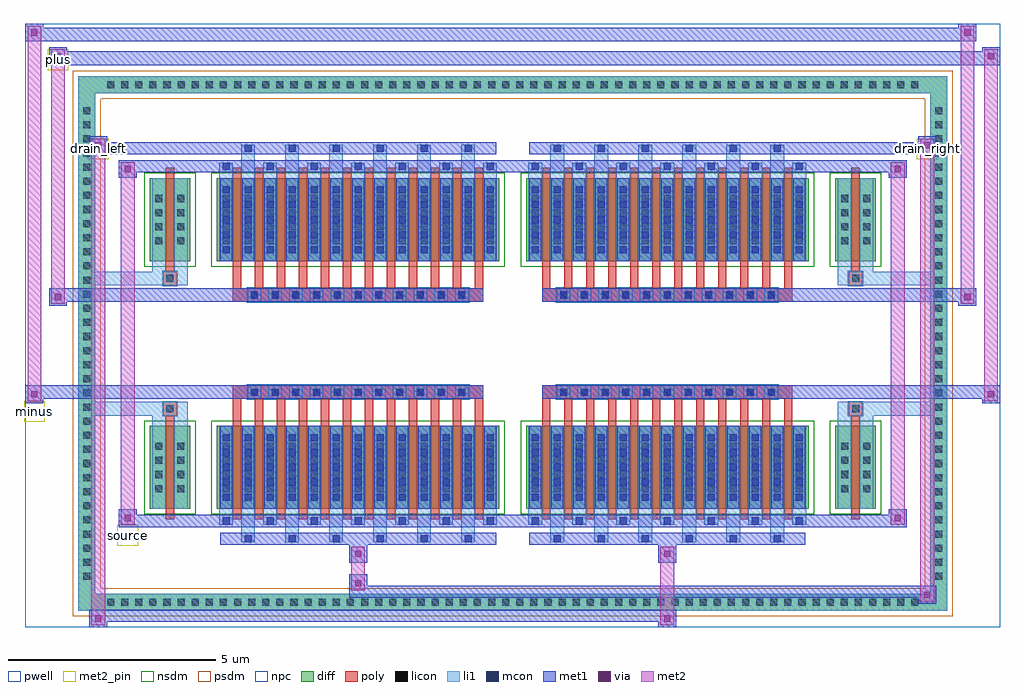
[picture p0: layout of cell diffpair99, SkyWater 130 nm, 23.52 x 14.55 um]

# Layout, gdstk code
import gdstk
lib = gdstk.Library(unit=1e-6, precision=5e-09)
def R(c, l, rs):  # rectangles x0, y0, x1, y1
    for r in rs: c.add(gdstk.rectangle(r[:2], r[2:], *l))
def A(c, l, x, y, w, h, nx, ny, dx, dy):  # array of equal rectangles
    R(c, l, [(x+i*dx, y+j*dy, x+i*dx+w, y+j*dy+h) for i in range(nx) for j in range(ny)])
def P(c, l, *ps):  # polygons
    for p in ps: c.add(gdstk.Polygon(p, *l))
pwell = (64, 44)
diff = (65, 20)
poly = (66, 20)
licon = (66, 44)
li1 = (67, 20)
mcon = (67, 44)
met1 = (68, 20)
via = (68, 44)
met2_pin = (69, 16)
met2 = (69, 20)
nsdm = (93, 44)
psdm = (94, 20)
npc = (95, 20)

diffpair99 = lib.new_cell('diffpair99')
R(diffpair99, pwell, [(-11.74,-6.84,11.74,7.71), (-9.06,-5.03,-0.01,-0.805), (0.01,-5.03,9.06,-0.805), (-9.06,0.805,-0.01,5.03), (0.01,0.805,9.06,5.03)])
A(diffpair99, diff, -9.895, -6.44, 0.41, 0.41, 58, 2, 0.34, 12.47)
A(diffpair99, diff, -10.47, -5.815, 0.41, 0.41, 1, 34, 0, 0.34)
A(diffpair99, diff, 10.06, -5.815, 0.41, 0.41, 1, 34, 0, 0.34)
R(diffpair99, diff, [(-9.895,-6.44,9.895,-6.03), (-10.47,-5.815,-10.06,5.815), (10.06,-5.815,10.47,5.815), (-8.75,-3.985,-7.77,-1.985), (-7.13,-3.985,-0.32,-1.985), (0.32,-3.985,7.13,-1.985), (7.77,-3.985,8.75,-1.985), (-8.75,1.985,-7.77,3.985), (-7.13,1.985,-0.32,3.985), (0.32,1.985,7.13,3.985), (7.77,1.985,8.75,3.985), (-9.895,6.03,9.895,6.44)])
P(diffpair99, diff, [(10.47,6.44),(-10.47,6.44),(-10.47,-6.03),(-10.06,-6.03),(-10.06,6.03),(10.06,6.03),(10.06,-6.03),(-10.06,-6.03),(-10.47,-6.03),(-10.47,-6.44),(10.47,-6.44)])
A(diffpair99, poly, -6.74, -4.235, 0.2, 2.5, 12, 2, 0.53, 5.97)
A(diffpair99, poly, 0.71, -4.235, 0.2, 2.5, 12, 2, 0.53, 5.97)
A(diffpair99, poly, -6.74, -1.735, 0.2, 0.4, 12, 2, 0.53, 3.07)
A(diffpair99, poly, 0.71, -1.735, 0.2, 0.4, 12, 2, 0.53, 3.07)
A(diffpair99, poly, -6.39, -1.335, 0.33, 0.33, 11, 2, 0.5, 2.34)
A(diffpair99, poly, 1.06, -1.335, 0.33, 0.33, 11, 2, 0.5, 2.34)
R(diffpair99, poly, [(-8.36,-4.235,-8.16,-1.735), (8.16,-4.235,8.36,-1.735), (-8.425,-1.735,-8.095,-1.405), (-8.425,-1.735,-8.095,-1.405), (8.095,-1.735,8.425,-1.405), (8.095,-1.735,8.425,-1.405), (-6.74,-1.335,-0.71,-1.005), (0.71,-1.335,6.74,-1.005), (-6.74,1.005,-0.71,1.335), (0.71,1.005,6.74,1.335), (-8.425,1.405,-8.095,1.735), (-8.425,1.405,-8.095,1.735), (8.095,1.405,8.425,1.735), (8.095,1.405,8.425,1.735), (-8.36,1.735,-8.16,4.235), (8.16,1.735,8.36,4.235)])
A(diffpair99, licon, -9.775, -6.32, 0.17, 0.17, 58, 2, 0.34, 12.47)
A(diffpair99, licon, -10.35, -5.695, 0.17, 0.17, 1, 34, 0, 0.34)
A(diffpair99, licon, 10.18, -5.695, 0.17, 0.17, 1, 34, 0, 0.34)
A(diffpair99, licon, -8.61, -3.58, 0.17, 0.17, 1, 4, 0, 0.34)
A(diffpair99, licon, -8.08, -3.58, 0.17, 0.17, 1, 4, 0, 0.34)
A(diffpair99, licon, -6.99, -3.58, 0.17, 0.17, 13, 4, 0.53, 0.34)
A(diffpair99, licon, 0.46, -3.58, 0.17, 0.17, 13, 4, 0.53, 0.34)
A(diffpair99, licon, 7.91, -3.58, 0.17, 0.17, 1, 4, 0, 0.34)
A(diffpair99, licon, 8.44, -3.58, 0.17, 0.17, 1, 4, 0, 0.34)
A(diffpair99, licon, -6.31, -1.255, 0.17, 0.17, 11, 2, 0.5, 2.34)
A(diffpair99, licon, 1.14, -1.255, 0.17, 0.17, 11, 2, 0.5, 2.34)
A(diffpair99, licon, -8.61, 2.39, 0.17, 0.17, 1, 4, 0, 0.34)
A(diffpair99, licon, -8.08, 2.39, 0.17, 0.17, 1, 4, 0, 0.34)
A(diffpair99, licon, -6.99, 2.39, 0.17, 0.17, 13, 4, 0.53, 0.34)
A(diffpair99, licon, 0.46, 2.39, 0.17, 0.17, 13, 4, 0.53, 0.34)
A(diffpair99, licon, 7.91, 2.39, 0.17, 0.17, 1, 4, 0, 0.34)
A(diffpair99, licon, 8.44, 2.39, 0.17, 0.17, 1, 4, 0, 0.34)
R(diffpair99, licon, [(-8.345,-1.655,-8.175,-1.485), (8.175,-1.655,8.345,-1.485), (-8.345,1.485,-8.175,1.655), (8.175,1.485,8.345,1.655)])
A(diffpair99, li1, -9.855, -6.4, 0.33, 0.33, 58, 2, 0.34, 12.47)
A(diffpair99, li1, -10.43, -5.775, 0.33, 0.33, 1, 34, 0, 0.34)
A(diffpair99, li1, 10.1, -5.775, 0.33, 0.33, 1, 34, 0, 0.34)
A(diffpair99, li1, -6.54, -4.79, 0.33, 0.805, 6, 2, 1.06, 8.775)
A(diffpair99, li1, -6.46, -4.79, 0.17, 0.17, 6, 2, 1.06, 9.41)
A(diffpair99, li1, 0.91, -4.79, 0.33, 0.805, 6, 2, 1.06, 8.775)
A(diffpair99, li1, 0.99, -4.79, 0.17, 0.17, 6, 2, 1.06, 9.41)
A(diffpair99, li1, -7.07, -4.36, 0.33, 0.375, 7, 2, 1.06, 8.345)
A(diffpair99, li1, -6.99, -4.36, 0.17, 0.17, 7, 2, 1.06, 8.55)
A(diffpair99, li1, 0.38, -4.36, 0.33, 0.375, 7, 2, 1.06, 8.345)
A(diffpair99, li1, 0.46, -4.36, 0.17, 0.17, 7, 2, 1.06, 8.55)
A(diffpair99, li1, -7.07, -3.985, 0.33, 2, 13, 2, 0.53, 5.97)
A(diffpair99, li1, 0.38, -3.985, 0.33, 2, 13, 2, 0.53, 5.97)
A(diffpair99, li1, -6.99, -3.79, 0.17, 0.17, 13, 5, 0.53, 0.36)
A(diffpair99, li1, -6.99, -3.79, 0.17, 1.61, 13, 2, 0.53, 5.97)
A(diffpair99, li1, 0.46, -3.79, 0.17, 0.17, 13, 5, 0.53, 0.36)
A(diffpair99, li1, 0.46, -3.79, 0.17, 1.61, 13, 2, 0.53, 5.97)
A(diffpair99, li1, -8.69, -3.66, 0.33, 0.33, 1, 4, 0, 0.34)
A(diffpair99, li1, -8.16, -3.66, 0.33, 0.33, 1, 4, 0, 0.34)
A(diffpair99, li1, -7.07, -3.66, 0.33, 0.33, 13, 4, 0.53, 0.34)
A(diffpair99, li1, 0.38, -3.66, 0.33, 0.33, 13, 4, 0.53, 0.34)
A(diffpair99, li1, 7.83, -3.66, 0.33, 0.33, 1, 4, 0, 0.34)
A(diffpair99, li1, 8.36, -3.66, 0.33, 0.33, 1, 4, 0, 0.34)
A(diffpair99, li1, -6.39, -1.335, 0.33, 0.33, 11, 2, 0.5, 2.34)
A(diffpair99, li1, 1.06, -1.335, 0.33, 0.33, 11, 2, 0.5, 2.34)
A(diffpair99, li1, -6.99, 2.18, 0.17, 0.17, 13, 5, 0.53, 0.36)
A(diffpair99, li1, 0.46, 2.18, 0.17, 0.17, 13, 5, 0.53, 0.36)
A(diffpair99, li1, -8.69, 2.31, 0.33, 0.33, 1, 4, 0, 0.34)
A(diffpair99, li1, -8.16, 2.31, 0.33, 0.33, 1, 4, 0, 0.34)
A(diffpair99, li1, -7.07, 2.31, 0.33, 0.33, 13, 4, 0.53, 0.34)
A(diffpair99, li1, 0.38, 2.31, 0.33, 0.33, 13, 4, 0.53, 0.34)
A(diffpair99, li1, 7.83, 2.31, 0.33, 0.33, 1, 4, 0, 0.34)
A(diffpair99, li1, 8.36, 2.31, 0.33, 0.33, 1, 4, 0, 0.34)
R(diffpair99, li1, [(-10.47,-6.44,-10.06,-6.03), (-10.47,-6.44,-10.06,-6.03), (-10.06,-6.44,10.06,-6.03), (10.06,-6.44,10.47,-6.03), (10.06,-6.44,10.47,-6.03), (-10.47,-6.03,-10.06,6.03), (10.06,-6.03,10.47,6.03), (-8.69,-3.985,-8.36,-1.985), (-8.16,-3.985,-7.83,-1.985), (7.83,-3.985,8.16,-1.985), (8.36,-3.985,8.69,-1.985), (-8.69,-1.985,-8.36,-1.405), (-8.16,-1.985,-7.83,-1.405), (7.83,-1.985,8.16,-1.405), (8.36,-1.985,8.69,-1.405), (-10.47,-1.735,-8.425,-1.405), (-8.69,-1.735,-8.425,-1.405), (-8.425,-1.735,-8.095,-1.405), (-8.095,-1.735,-7.83,-1.405), (7.83,-1.735,8.095,-1.405), (8.095,-1.735,8.425,-1.405), (8.095,-1.735,10.47,-1.405), (8.425,-1.735,8.69,-1.405), (-10.47,1.405,-8.425,1.735), (-8.69,1.405,-8.425,1.735), (-8.69,1.405,-8.36,1.985), (-8.425,1.405,-8.095,1.735), (-8.16,1.405,-7.83,1.985), (-8.095,1.405,-7.83,1.735), (7.83,1.405,8.095,1.735), (7.83,1.405,8.16,1.985), (8.095,1.405,8.425,1.735), (8.095,1.405,10.47,1.735), (8.36,1.405,8.69,1.985), (8.425,1.405,8.69,1.735), (-8.69,1.985,-8.36,3.985), (-8.16,1.985,-7.83,3.985), (7.83,1.985,8.16,3.985), (8.36,1.985,8.69,3.985), (-10.47,6.03,-10.06,6.44), (-10.47,6.03,-10.06,6.44), (-10.06,6.03,10.06,6.44), (10.06,6.03,10.47,6.44), (10.06,6.03,10.47,6.44)])
A(diffpair99, mcon, -6.46, -4.79, 0.17, 0.17, 6, 2, 1.06, 9.41)
A(diffpair99, mcon, 0.99, -4.79, 0.17, 0.17, 6, 2, 1.06, 9.41)
A(diffpair99, mcon, -6.99, -4.36, 0.17, 0.17, 7, 2, 1.06, 8.55)
A(diffpair99, mcon, 0.46, -4.36, 0.17, 0.17, 7, 2, 1.06, 8.55)
A(diffpair99, mcon, -6.99, -3.79, 0.17, 0.17, 13, 5, 0.53, 0.36)
A(diffpair99, mcon, 0.46, -3.79, 0.17, 0.17, 13, 5, 0.53, 0.36)
A(diffpair99, mcon, -6.31, -1.255, 0.17, 0.17, 11, 2, 0.5, 2.34)
A(diffpair99, mcon, 1.14, -1.255, 0.17, 0.17, 11, 2, 0.5, 2.34)
A(diffpair99, mcon, -6.99, 2.18, 0.17, 0.17, 13, 5, 0.53, 0.36)
A(diffpair99, mcon, 0.46, 2.18, 0.17, 0.17, 13, 5, 0.53, 0.36)
A(diffpair99, met1, -6.52, -4.85, 0.29, 0.29, 6, 2, 1.06, 9.41)
A(diffpair99, met1, 0.93, -4.85, 0.29, 0.29, 6, 2, 1.06, 9.41)
A(diffpair99, met1, -7.05, -4.42, 0.29, 0.29, 7, 2, 1.06, 8.55)
A(diffpair99, met1, 0.4, -4.42, 0.29, 0.29, 7, 2, 1.06, 8.55)
A(diffpair99, met1, -7.05, -3.985, 0.29, 2, 13, 2, 0.53, 5.97)
A(diffpair99, met1, 0.4, -3.985, 0.29, 2, 13, 2, 0.53, 5.97)
A(diffpair99, met1, -7.05, -3.85, 0.29, 0.29, 13, 5, 0.53, 0.36)
A(diffpair99, met1, 0.4, -3.85, 0.29, 0.29, 13, 5, 0.53, 0.36)
A(diffpair99, met1, -6.37, -1.315, 0.29, 0.29, 11, 2, 0.5, 2.34)
A(diffpair99, met1, 1.08, -1.315, 0.29, 0.29, 11, 2, 0.5, 2.34)
A(diffpair99, met1, -7.05, 2.12, 0.29, 0.29, 13, 5, 0.53, 0.36)
A(diffpair99, met1, 0.4, 2.12, 0.29, 0.29, 13, 5, 0.53, 0.36)
R(diffpair99, met1, [(-10.2,-6.84,-9.77,-6.41), (3.51,-6.84,3.94,-6.41), (-10.2,-6.7,3.94,-6.41), (9.77,-6.27,10.2,-5.84), (-3.94,-6.13,10.2,-5.84), (-3.94,-5.99,-3.51,-5.56), (-3.94,-5.28,-3.51,-4.85), (3.51,-5.28,3.94,-4.85), (-7.05,-4.85,-0.4,-4.56), (0.4,-4.85,7.05,-4.56), (-9.49,-4.42,-9.06,-3.99), (-9.49,-4.42,-7.05,-4.13), (-7.05,-4.42,-0.4,-4.13), (-0.4,-4.42,0.4,-4.13), (0.4,-4.42,7.05,-4.13), (7.05,-4.42,9.49,-4.13), (9.06,-4.42,9.49,-3.99), (-11.74,-1.435,-11.31,-1.005), (11.31,-1.435,11.74,-1.005), (-11.74,-1.335,-0.71,-1.005), (-6.74,-1.335,-0.71,-1.005), (0.71,-1.335,6.74,-1.005), (0.71,-1.335,11.74,-1.005), (-11.17,0.905,-10.74,1.335), (10.74,0.905,11.17,1.335), (-11.17,1.005,-6.74,1.335), (-6.74,1.005,-0.71,1.335), (0.71,1.005,6.74,1.335), (6.74,1.005,11.17,1.335), (-9.49,3.99,-9.06,4.42), (9.06,3.99,9.49,4.42), (-9.49,4.13,-7.05,4.42), (-7.05,4.13,-0.4,4.42), (-0.4,4.13,0.4,4.42), (0.4,4.13,7.05,4.42), (7.05,4.13,9.49,4.42), (-10.2,4.56,-9.77,4.99), (-10.2,4.56,-7.05,4.85), (-7.05,4.56,-0.4,4.85), (0.4,4.56,7.05,4.85), (7.05,4.56,10.2,4.85), (9.77,4.56,10.2,4.99), (-11.17,6.71,-10.74,7.14), (-11.17,6.71,-9.06,7.04), (-9.06,6.71,9.06,7.04), (9.06,6.71,11.74,7.04), (11.31,6.71,11.74,7.14), (-11.74,7.28,-11.31,7.71), (-11.74,7.28,-9.06,7.61), (-9.06,7.28,9.06,7.61), (9.06,7.28,11.17,7.61), (10.74,7.28,11.17,7.71)])
R(diffpair99, via, [(-10.06,-6.7,-9.91,-6.55), (3.65,-6.7,3.8,-6.55), (9.91,-6.13,10.06,-5.98), (-3.8,-5.85,-3.65,-5.7), (-3.8,-5.14,-3.65,-4.99), (3.65,-5.14,3.8,-4.99), (-9.35,-4.28,-9.2,-4.13), (9.2,-4.28,9.35,-4.13), (-11.6,-1.295,-11.45,-1.145), (11.45,-1.295,11.6,-1.145), (-11.03,1.045,-10.88,1.195), (10.88,1.045,11.03,1.195), (-9.35,4.13,-9.2,4.28), (9.2,4.13,9.35,4.28), (-10.06,4.7,-9.91,4.85), (9.91,4.7,10.06,4.85), (-11.03,6.85,-10.88,7), (11.45,6.85,11.6,7), (-11.6,7.42,-11.45,7.57), (10.88,7.42,11.03,7.57)])
R(diffpair99, met2_pin, [(-9.525,-4.87,-9.025,-4.37), (-11.775,-1.885,-11.275,-1.385), (-10.235,4.44,-9.735,4.94), (9.735,4.44,10.235,4.94), (-11.205,6.59,-10.705,7.09)])
R(diffpair99, met2, [(-10.15,-6.79,-9.82,-6.46), (-10.15,-6.79,-9.82,4.94), (3.56,-6.79,3.89,-6.46), (3.56,-6.46,3.89,-5.23), (9.82,-6.22,10.15,-5.89), (9.82,-6.22,10.15,4.94), (-3.89,-5.94,-3.56,-5.61), (-3.89,-5.61,-3.56,-5.23), (-3.89,-5.23,-3.56,-4.9), (3.56,-5.23,3.89,-4.9), (-9.44,-4.37,-9.11,-4.04), (-9.44,-4.37,-9.11,4.37), (9.11,-4.37,9.44,-4.04), (9.11,-4.37,9.44,4.37), (-11.69,-1.385,-11.36,-1.055), (-11.69,-1.385,-11.36,7.66), (11.36,-1.385,11.69,-1.055), (11.36,-1.385,11.69,7.09), (-11.12,0.955,-10.79,1.285), (-11.12,0.955,-10.79,7.09), (10.79,0.955,11.12,1.285), (10.79,0.955,11.12,7.66), (-9.44,4.04,-9.11,4.37), (9.11,4.04,9.44,4.37), (-10.15,4.61,-9.82,4.94), (9.82,4.61,10.15,4.94), (-11.12,6.76,-10.79,7.09), (11.36,6.76,11.69,7.09), (-11.69,7.33,-11.36,7.66), (10.79,7.33,11.12,7.66)])
P(diffpair99, met2, [(11.69,-1.385),(11.69,-1.385),(11.69,-1.055),(11.69,-1.055)],
  [(11.69,6.76),(11.69,6.76),(11.69,7.09),(11.69,7.09)],
  [(-11.36,-1.385),(-11.36,-1.385),(-11.36,-1.055),(-11.36,-1.055)],
  [(-11.36,7.33),(-11.36,7.33),(-11.36,7.66),(-11.36,7.66)],
  [(11.12,0.955),(11.12,0.955),(11.12,1.285),(11.12,1.285)],
  [(11.12,7.33),(11.12,7.33),(11.12,7.66),(11.12,7.66)],
  [(-10.79,0.955),(-10.79,0.955),(-10.79,1.285),(-10.79,1.285)],
  [(-10.79,6.76),(-10.79,6.76),(-10.79,7.09),(-10.79,7.09)],
  [(-9.82,-6.79),(-9.82,-6.79),(-9.82,-6.46),(-9.82,-6.46)],
  [(-9.82,4.61),(-9.82,4.61),(-9.82,4.94),(-9.82,4.94)],
  [(10.15,-6.22),(10.15,-6.22),(10.15,-5.89),(10.15,-5.89)],
  [(10.15,4.61),(10.15,4.61),(10.15,4.94),(10.15,4.94)],
  [(-9.11,-4.37),(-9.11,-4.37),(-9.11,-4.04),(-9.11,-4.04)],
  [(-9.11,4.04),(-9.11,4.04),(-9.11,4.37),(-9.11,4.37)],
  [(9.44,-4.37),(9.44,-4.37),(9.44,-4.04),(9.44,-4.04)],
  [(9.44,4.04),(9.44,4.04),(9.44,4.37),(9.44,4.37)])
R(diffpair99, nsdm, [(-8.88,-4.115,-7.64,-1.855), (-7.26,-4.115,-0.19,-1.855), (0.19,-4.115,7.26,-1.855), (7.64,-4.115,8.88,-1.855), (-8.88,1.855,-7.64,4.115), (-7.26,1.855,-0.19,4.115), (0.19,1.855,7.26,4.115), (7.64,1.855,8.88,4.115)])
P(diffpair99, psdm, [(10.6,6.57),(-10.6,6.57),(-10.6,-5.9),(-9.93,-5.9),(-9.93,5.9),(9.93,5.9),(9.93,-5.9),(-9.93,-5.9),(-10.6,-5.9),(-10.6,-6.57),(10.6,-6.57)])
A(diffpair99, npc, -6.41, -1.355, 0.37, 0.37, 11, 2, 0.5, 2.34)
A(diffpair99, npc, 1.04, -1.355, 0.37, 0.37, 11, 2, 0.5, 2.34)
R(diffpair99, npc, [(-8.445,-1.755,-8.075,-1.385), (8.075,-1.755,8.445,-1.385), (-6.41,-1.355,-5.54,-0.985), (-6.41,-1.355,-5.54,-0.985), (-5.91,-1.355,-5.04,-0.985), (-5.91,-1.355,-5.04,-0.985), (-5.41,-1.355,-4.54,-0.985), (-5.41,-1.355,-4.54,-0.985), (-4.91,-1.355,-4.04,-0.985), (-4.91,-1.355,-4.04,-0.985), (-4.41,-1.355,-3.54,-0.985), (-4.41,-1.355,-3.54,-0.985), (-3.91,-1.355,-3.04,-0.985), (-3.91,-1.355,-3.04,-0.985), (-3.41,-1.355,-2.54,-0.985), (-3.41,-1.355,-2.54,-0.985), (-2.91,-1.355,-2.04,-0.985), (-2.91,-1.355,-2.04,-0.985), (-2.41,-1.355,-1.54,-0.985), (-2.41,-1.355,-1.54,-0.985), (-1.91,-1.355,-1.04,-0.985), (-1.91,-1.355,-1.04,-0.985), (1.04,-1.355,1.91,-0.985), (1.04,-1.355,1.91,-0.985), (1.54,-1.355,2.41,-0.985), (1.54,-1.355,2.41,-0.985), (2.04,-1.355,2.91,-0.985), (2.04,-1.355,2.91,-0.985), (2.54,-1.355,3.41,-0.985), (2.54,-1.355,3.41,-0.985), (3.04,-1.355,3.91,-0.985), (3.04,-1.355,3.91,-0.985), (3.54,-1.355,4.41,-0.985), (3.54,-1.355,4.41,-0.985), (4.04,-1.355,4.91,-0.985), (4.04,-1.355,4.91,-0.985), (4.54,-1.355,5.41,-0.985), (4.54,-1.355,5.41,-0.985), (5.04,-1.355,5.91,-0.985), (5.04,-1.355,5.91,-0.985), (5.54,-1.355,6.41,-0.985), (5.54,-1.355,6.41,-0.985), (-6.41,0.985,-5.54,1.355), (-6.41,0.985,-5.54,1.355), (-5.91,0.985,-5.04,1.355), (-5.91,0.985,-5.04,1.355), (-5.41,0.985,-4.54,1.355), (-5.41,0.985,-4.54,1.355), (-4.91,0.985,-4.04,1.355), (-4.91,0.985,-4.04,1.355), (-4.41,0.985,-3.54,1.355), (-4.41,0.985,-3.54,1.355), (-3.91,0.985,-3.04,1.355), (-3.91,0.985,-3.04,1.355), (-3.41,0.985,-2.54,1.355), (-3.41,0.985,-2.54,1.355), (-2.91,0.985,-2.04,1.355), (-2.91,0.985,-2.04,1.355), (-2.41,0.985,-1.54,1.355), (-2.41,0.985,-1.54,1.355), (-1.91,0.985,-1.04,1.355), (-1.91,0.985,-1.04,1.355), (1.04,0.985,1.91,1.355), (1.04,0.985,1.91,1.355), (1.54,0.985,2.41,1.355), (1.54,0.985,2.41,1.355), (2.04,0.985,2.91,1.355), (2.04,0.985,2.91,1.355), (2.54,0.985,3.41,1.355), (2.54,0.985,3.41,1.355), (3.04,0.985,3.91,1.355), (3.04,0.985,3.91,1.355), (3.54,0.985,4.41,1.355), (3.54,0.985,4.41,1.355), (4.04,0.985,4.91,1.355), (4.04,0.985,4.91,1.355), (4.54,0.985,5.41,1.355), (4.54,0.985,5.41,1.355), (5.04,0.985,5.91,1.355), (5.04,0.985,5.91,1.355), (5.54,0.985,6.41,1.355), (5.54,0.985,6.41,1.355), (-8.445,1.385,-8.075,1.755), (8.075,1.385,8.445,1.755)])
diffpair99.add(gdstk.Label('minus', (-11.525,-1.635), layer=69, texttype=5))
diffpair99.add(gdstk.Label('drain_right', (9.985,4.69), layer=69, texttype=5))
diffpair99.add(gdstk.Label('drain_left', (-9.985,4.69), layer=69, texttype=5))
diffpair99.add(gdstk.Label('source', (-9.275,-4.62), layer=69, texttype=5))
diffpair99.add(gdstk.Label('plus', (-10.955,6.84), layer=69, texttype=5))

lib.write_gds('diffpair99.gds')
